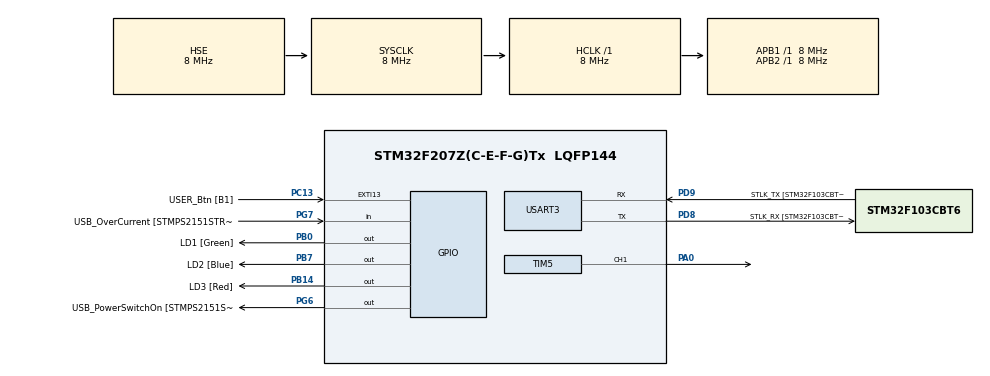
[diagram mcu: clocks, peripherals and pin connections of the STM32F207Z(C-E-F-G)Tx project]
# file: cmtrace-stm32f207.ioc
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Mcu.Family=STM32F2
Mcu.Name=STM32F207Z(C-E-F-G)Tx
Mcu.Package=LQFP144
NVIC.PriorityGroup=NVIC_PRIORITYGROUP_4
NVIC.TIM5_IRQn=true\:0\:0\:false\:false\:true\:true\:true\:true
PA0-WKUP.Signal=S_TIM5_CH1
PA1.GPIO_Label=RMII_REF_CLK [LAN8742A-CZ-TR_REFCLK0]
PA1.Signal=ETH_REF_CLK
PA10.GPIO_Label=USB_ID
PA10.Signal=USB_OTG_FS_ID
PA11.GPIO_Label=USB_DM
PA11.Signal=USB_OTG_FS_DM
PA12.GPIO_Label=USB_DP
PA12.Signal=USB_OTG_FS_DP
PA13.GPIO_Label=TMS
PA13.Mode=Serial_Wire
PA13.Signal=SYS_JTMS-SWDIO
PA14.GPIO_Label=TCK
PA14.Mode=Serial_Wire
PA14.Signal=SYS_JTCK-SWCLK
PA2.GPIO_Label=RMII_MDIO [LAN8742A-CZ-TR_MDIO]
PA2.Signal=ETH_MDIO
PA7.GPIO_Label=RMII_CRS_DV [LAN8742A-CZ-TR_CRS_DV]
PA7.Signal=ETH_CRS_DV
PA8.GPIO_Label=USB_SOF [TP1]
PA8.Signal=USB_OTG_FS_SOF
PA9.GPIO_Label=USB_VBUS
PA9.Signal=USB_OTG_FS_VBUS
PB0.GPIO_Label=LD1 [Green]
PB0.Signal=GPIO_Output
PB13.GPIO_Label=RMII_TXD1 [LAN8742A-CZ-TR_TXD1]
PB13.Signal=ETH_TXD1
PB14.GPIO_Label=LD3 [Red]
PB14.Signal=GPIO_Output
PB3.GPIO_Label=SWO
PB3.Signal=SYS_JTDO-SWO
PB7.GPIO_Label=LD2 [Blue]
PB7.Signal=GPIO_Output
PC1.GPIO_Label=RMII_MDC [LAN8742A-CZ-TR_MDC]
PC1.Signal=ETH_MDC
PC13.GPIO_Label=USER_Btn [B1]
PC13.Signal=GPXTI13
PC14-OSC32_IN.Mode=LSE-External-Oscillator
PC14-OSC32_IN.Signal=RCC_OSC32_IN
PC15-OSC32_OUT.Mode=LSE-External-Oscillator
PC15-OSC32_OUT.Signal=RCC_OSC32_OUT
PC4.GPIO_Label=RMII_RXD0 [LAN8742A-CZ-TR_RXD0]
PC4.Signal=ETH_RXD0
PC5.GPIO_Label=RMII_RXD1 [LAN8742A-CZ-TR_RXD1]
PC5.Signal=ETH_RXD1
PD8.GPIO_Label=STLK_RX [STM32F103CBT6_PA2]
PD8.Mode=Asynchronous
PD8.Signal=USART3_TX
PD9.GPIO_Label=STLK_TX [STM32F103CBT6_PA3]
PD9.Mode=Asynchronous
PD9.Signal=USART3_RX
PG11.GPIO_Label=RMII_TX_EN [LAN8742A-CZ-TR_TXEN]
PG11.Signal=ETH_TX_EN
PG13.GPIO_Label=RMII_TXD0 [LAN8742A-CZ-TR_TXD0]
PG13.Signal=ETH_TXD0
PG6.GPIO_Label=USB_PowerSwitchOn [STMPS2151STR_EN]
PG6.Signal=GPIO_Output
PG7.GPIO_Label=USB_OverCurrent [STMPS2151STR_FAULT]
PG7.Signal=GPIO_Input
PH0-OSC_IN.GPIO_Label=MCO [STM32F103CBT6_PA8]
PH0-OSC_IN.Mode=HSE-External-Clock-Source
PH0-OSC_IN.Signal=RCC_OSC_IN
PH1-OSC_OUT.Mode=HSE-External-Clock-Source
PH1-OSC_OUT.Signal=RCC_OSC_OUT
ProjectManager.HeapSize=0x200
ProjectManager.StackSize=0x400
ProjectManager.TargetToolchain=Makefile
RCC.48MHZClocksFreq_Value=48000000
RCC.AHBFreq_Value=8000000
RCC.APB1Freq_Value=8000000
RCC.APB1TimFreq_Value=8000000
RCC.APB2Freq_Value=8000000
RCC.APB2TimFreq_Value=8000000
RCC.CortexFreq_Value=8000000
RCC.HCLKFreq_Value=8000000
RCC.HSE_VALUE=8000000
RCC.HSI_VALUE=16000000
RCC.PLLM=13
RCC.PLLMUL=RCC_PLL_MUL9
RCC.PLLN=195
RCC.PLLQ=5
RCC.PRESCALERUSB=RCC_USBCLKSOURCE_PLL_DIV1_5
RCC.SYSCLKFreq_VALUE=8000000
RCC.SYSCLKSource=RCC_SYSCLKSOURCE_HSE
RCC.SYSCLKSourceVirtual=RCC_SYSCLKSOURCE_PLLCLK
RCC.USBFreq_Value=48000000
RCC.VCOOutputFreq_Value=240000000
SH.S_TIM5_CH1.0=TIM5_CH1,PWM Generation1 CH1
TIM5.Channel-PWM\ Generation1\ CH1=TIM_CHANNEL_1
USART3.VirtualMode=VM_ASYNC
VP_TIM5_VS_ClockSourceINT.Mode=Internal
board=NUCLEO-F207ZG

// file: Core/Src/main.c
/* USER CODE BEGIN Header */
/**
  ******************************************************************************
  * @file           : main.c
  * @brief          : Main program body
  ******************************************************************************
  * @attention
  *
  * Copyright (c) 2026 STMicroelectronics.
  * All rights reserved.
  *
  * This software is licensed under terms that can be found in the LICENSE file
  * in the root directory of this software component.
  * If no LICENSE file comes with this software, it is provided AS-IS.
  *
  ******************************************************************************
  */
/* USER CODE END Header */
#include "main.h"

/* USER CODE BEGIN Includes */
#include "cmtrace.h"
#include "stm32f2xx_ll_tim.h"
#include <stdio.h>
/* USER CODE END Includes */

TIM_HandleTypeDef htim5;

UART_HandleTypeDef huart3;

/* USER CODE BEGIN PV */
int __io_putchar(int ch){
	HAL_UART_Transmit(&huart3, (uint8_t *)&ch, 1, 0xFFFF);
	return ch;
}
int __io_getchar(void){
	uint8_t c;
	HAL_UART_Receive(&huart3, &c, 1, 0xFFFFFFFF);
	//__io_putchar(c);
	return c;
}
/* USER CODE END PV */

void SystemClock_Config(void);
static void MX_GPIO_Init(void);
static void MX_USART3_UART_Init(void);
static void MX_TIM5_Init(void);

/* USER CODE BEGIN 0 */
void led1_on(){
	HAL_GPIO_WritePin(LD1_GPIO_Port,LD1_Pin,1);
}

void led1_off(){
	HAL_GPIO_WritePin(LD1_GPIO_Port,LD1_Pin,0);
}
void systick_disable(void) {
	SysTick->CTRL &= ~(SysTick_CTRL_ENABLE_Msk | SysTick_CTRL_TICKINT_Msk);
}
void cmtrace_clear_caches(){
	__HAL_FLASH_PREFETCH_BUFFER_DISABLE();
	__HAL_FLASH_INSTRUCTION_CACHE_DISABLE();
	__HAL_FLASH_DATA_CACHE_DISABLE();
	__HAL_FLASH_INSTRUCTION_CACHE_RESET();
	__HAL_FLASH_DATA_CACHE_RESET();
	__HAL_FLASH_PREFETCH_BUFFER_ENABLE();
	__HAL_FLASH_INSTRUCTION_CACHE_ENABLE();
	__HAL_FLASH_DATA_CACHE_ENABLE();
}
void cmtrace_timer_init(){
	//nothing to do, done already in main code
	//printf("cmtrace_timer_init\n");
	DBGMCU->APB1FZ|=0x8;//halt timer during debug mode

	SET_BIT(TIM5->CCER, TIM_CCER_CC1E);
}
void cmtrace_timer_start(uint32_t cycles){
	//printf("cmtrace_timer_start %lu\n",cycles);
	WRITE_REG(TIM5->ARR, cycles);
	LL_TIM_SetCounter(TIM5,0);
	CLEAR_BIT(TIM5->SR, TIM_SR_UIF);
	SET_BIT(TIM5->DIER, TIM_DIER_UIE);
	SET_BIT(TIM5->CR1, TIM_CR1_OPM);//set one pulse mode
	LL_TIM_OC_SetCompareCH1(htim5.Instance,cycles);
	led1_on();
	SET_BIT(TIM5->CR1, TIM_CR1_CEN);
}
void cmtrace_timer_stop(){
	CLEAR_BIT(TIM5->CR1, TIM_CR1_CEN);//stop timer
	led1_off();
	//printf("cmtrace_timer_stop\n");
}
void cmtrace_timer_irq_ack(){
	led1_off();
	cmtrace_timer_stop();
	__HAL_TIM_CLEAR_FLAG(&htim5, TIM_FLAG_UPDATE);
	CLEAR_BIT(TIM5->DIER, TIM_DIER_UIE);
	//printf("cmtrace_timer_irq_ack\n");
}
uint32_t cmtrace_timer_read(){
	return LL_TIM_GetCounter(TIM5);
}

/* USER CODE END 0 */

int main(void)
{

  /* MCU Configuration--------------------------------------------------------*/

  /* Reset of all peripherals, Initializes the Flash interface and the Systick. */
  HAL_Init();

  /* Configure the system clock */
  SystemClock_Config();

  /* Initialize all configured peripherals */
  MX_GPIO_Init();
  MX_USART3_UART_Init();
  MX_TIM5_Init();
  /* USER CODE BEGIN 2 */
  //printf("STM32F207\n");
  //led1_on();
  //led1_off();
  systick_disable();
    /*test_umul64_16_16();
  test_umul64_32_16();
  test_umul64_32_32();*/
  include_test_functions();
  //cmtrace_trace(test_umul64_16_16);
  cmtrace_trace_loop();
  /* USER CODE END 2 */

  /* Infinite loop */
  while (1)
  {

  }
}

void SystemClock_Config(void)
{
  RCC_OscInitTypeDef RCC_OscInitStruct = {0};
  RCC_ClkInitTypeDef RCC_ClkInitStruct = {0};

  /** Initializes the RCC Oscillators according to the specified parameters
  * in the RCC_OscInitTypeDef structure.
  */
  RCC_OscInitStruct.OscillatorType = RCC_OSCILLATORTYPE_HSE;
  RCC_OscInitStruct.HSEState = RCC_HSE_BYPASS;
  RCC_OscInitStruct.PLL.PLLState = RCC_PLL_NONE;
  if (HAL_RCC_OscConfig(&RCC_OscInitStruct) != HAL_OK)
  {
    Error_Handler();
  }

  /** Initializes the CPU, AHB and APB buses clocks
  */
  RCC_ClkInitStruct.ClockType = RCC_CLOCKTYPE_HCLK|RCC_CLOCKTYPE_SYSCLK
                              |RCC_CLOCKTYPE_PCLK1|RCC_CLOCKTYPE_PCLK2;
  RCC_ClkInitStruct.SYSCLKSource = RCC_SYSCLKSOURCE_HSE;
  RCC_ClkInitStruct.AHBCLKDivider = RCC_SYSCLK_DIV1;
  RCC_ClkInitStruct.APB1CLKDivider = RCC_HCLK_DIV1;
  RCC_ClkInitStruct.APB2CLKDivider = RCC_HCLK_DIV1;

  if (HAL_RCC_ClockConfig(&RCC_ClkInitStruct, FLASH_LATENCY_0) != HAL_OK)
  {
    Error_Handler();
  }
}

static void MX_TIM5_Init(void)
{

  TIM_ClockConfigTypeDef sClockSourceConfig = {0};
  TIM_MasterConfigTypeDef sMasterConfig = {0};
  TIM_OC_InitTypeDef sConfigOC = {0};

  htim5.Instance = TIM5;
  htim5.Init.Prescaler = 0;
  htim5.Init.CounterMode = TIM_COUNTERMODE_UP;
  htim5.Init.Period = 4294967295;
  htim5.Init.ClockDivision = TIM_CLOCKDIVISION_DIV1;
  htim5.Init.AutoReloadPreload = TIM_AUTORELOAD_PRELOAD_DISABLE;
  if (HAL_TIM_Base_Init(&htim5) != HAL_OK)
  {
    Error_Handler();
  }
  sClockSourceConfig.ClockSource = TIM_CLOCKSOURCE_INTERNAL;
  if (HAL_TIM_ConfigClockSource(&htim5, &sClockSourceConfig) != HAL_OK)
  {
    Error_Handler();
  }
  if (HAL_TIM_PWM_Init(&htim5) != HAL_OK)
  {
    Error_Handler();
  }
  sMasterConfig.MasterOutputTrigger = TIM_TRGO_RESET;
  sMasterConfig.MasterSlaveMode = TIM_MASTERSLAVEMODE_DISABLE;
  if (HAL_TIMEx_MasterConfigSynchronization(&htim5, &sMasterConfig) != HAL_OK)
  {
    Error_Handler();
  }
  sConfigOC.OCMode = TIM_OCMODE_PWM1;
  sConfigOC.Pulse = 0;
  sConfigOC.OCPolarity = TIM_OCPOLARITY_HIGH;
  sConfigOC.OCFastMode = TIM_OCFAST_DISABLE;
  if (HAL_TIM_PWM_ConfigChannel(&htim5, &sConfigOC, TIM_CHANNEL_1) != HAL_OK)
  {
    Error_Handler();
  }
  HAL_TIM_MspPostInit(&htim5);

}

static void MX_USART3_UART_Init(void)
{

  huart3.Instance = USART3;
  huart3.Init.BaudRate = 115200;
  huart3.Init.WordLength = UART_WORDLENGTH_8B;
  huart3.Init.StopBits = UART_STOPBITS_1;
  huart3.Init.Parity = UART_PARITY_NONE;
  huart3.Init.Mode = UART_MODE_TX_RX;
  huart3.Init.HwFlowCtl = UART_HWCONTROL_NONE;
  huart3.Init.OverSampling = UART_OVERSAMPLING_16;
  if (HAL_UART_Init(&huart3) != HAL_OK)
  {
    Error_Handler();
  }

}

static void MX_GPIO_Init(void)
{
  GPIO_InitTypeDef GPIO_InitStruct = {0};

  /* GPIO Ports Clock Enable */
  __HAL_RCC_GPIOC_CLK_ENABLE();
  __HAL_RCC_GPIOH_CLK_ENABLE();
  __HAL_RCC_GPIOA_CLK_ENABLE();
  __HAL_RCC_GPIOB_CLK_ENABLE();
  __HAL_RCC_GPIOD_CLK_ENABLE();
  __HAL_RCC_GPIOG_CLK_ENABLE();

  /*Configure GPIO pin Output Level */
  HAL_GPIO_WritePin(GPIOB, LD1_Pin|LD3_Pin|LD2_Pin, GPIO_PIN_RESET);

  /*Configure GPIO pin Output Level */
  HAL_GPIO_WritePin(USB_PowerSwitchOn_GPIO_Port, USB_PowerSwitchOn_Pin, GPIO_PIN_RESET);

  /*Configure GPIO pin : USER_Btn_Pin */
  GPIO_InitStruct.Pin = USER_Btn_Pin;
  GPIO_InitStruct.Mode = GPIO_MODE_IT_RISING;
  GPIO_InitStruct.Pull = GPIO_NOPULL;
  HAL_GPIO_Init(USER_Btn_GPIO_Port, &GPIO_InitStruct);

  /*Configure GPIO pins : RMII_MDC_Pin RMII_RXD0_Pin RMII_RXD1_Pin */
  GPIO_InitStruct.Pin = RMII_MDC_Pin|RMII_RXD0_Pin|RMII_RXD1_Pin;
  GPIO_InitStruct.Mode = GPIO_MODE_AF_PP;
  GPIO_InitStruct.Pull = GPIO_NOPULL;
  GPIO_InitStruct.Speed = GPIO_SPEED_FREQ_VERY_HIGH;
  GPIO_InitStruct.Alternate = GPIO_AF11_ETH;
  HAL_GPIO_Init(GPIOC, &GPIO_InitStruct);

  /*Configure GPIO pins : RMII_REF_CLK_Pin RMII_MDIO_Pin RMII_CRS_DV_Pin */
  GPIO_InitStruct.Pin = RMII_REF_CLK_Pin|RMII_MDIO_Pin|RMII_CRS_DV_Pin;
  GPIO_InitStruct.Mode = GPIO_MODE_AF_PP;
  GPIO_InitStruct.Pull = GPIO_NOPULL;
  GPIO_InitStruct.Speed = GPIO_SPEED_FREQ_VERY_HIGH;
  GPIO_InitStruct.Alternate = GPIO_AF11_ETH;
  HAL_GPIO_Init(GPIOA, &GPIO_InitStruct);

  /*Configure GPIO pins : LD1_Pin LD3_Pin LD2_Pin */
  GPIO_InitStruct.Pin = LD1_Pin|LD3_Pin|LD2_Pin;
  GPIO_InitStruct.Mode = GPIO_MODE_OUTPUT_PP;
  GPIO_InitStruct.Pull = GPIO_NOPULL;
  GPIO_InitStruct.Speed = GPIO_SPEED_FREQ_LOW;
  HAL_GPIO_Init(GPIOB, &GPIO_InitStruct);

  /*Configure GPIO pin : RMII_TXD1_Pin */
  GPIO_InitStruct.Pin = RMII_TXD1_Pin;
  GPIO_InitStruct.Mode = GPIO_MODE_AF_PP;
  GPIO_InitStruct.Pull = GPIO_NOPULL;
  GPIO_InitStruct.Speed = GPIO_SPEED_FREQ_VERY_HIGH;
  GPIO_InitStruct.Alternate = GPIO_AF11_ETH;
  HAL_GPIO_Init(RMII_TXD1_GPIO_Port, &GPIO_InitStruct);

  /*Configure GPIO pin : USB_PowerSwitchOn_Pin */
  GPIO_InitStruct.Pin = USB_PowerSwitchOn_Pin;
  GPIO_InitStruct.Mode = GPIO_MODE_OUTPUT_PP;
  GPIO_InitStruct.Pull = GPIO_NOPULL;
  GPIO_InitStruct.Speed = GPIO_SPEED_FREQ_LOW;
  HAL_GPIO_Init(USB_PowerSwitchOn_GPIO_Port, &GPIO_InitStruct);

  /*Configure GPIO pin : USB_OverCurrent_Pin */
  GPIO_InitStruct.Pin = USB_OverCurrent_Pin;
  GPIO_InitStruct.Mode = GPIO_MODE_INPUT;
  GPIO_InitStruct.Pull = GPIO_NOPULL;
  HAL_GPIO_Init(USB_OverCurrent_GPIO_Port, &GPIO_InitStruct);

  /*Configure GPIO pins : USB_SOF_Pin USB_ID_Pin USB_DM_Pin USB_DP_Pin */
  GPIO_InitStruct.Pin = USB_SOF_Pin|USB_ID_Pin|USB_DM_Pin|USB_DP_Pin;
  GPIO_InitStruct.Mode = GPIO_MODE_AF_PP;
  GPIO_InitStruct.Pull = GPIO_NOPULL;
  GPIO_InitStruct.Speed = GPIO_SPEED_FREQ_VERY_HIGH;
  GPIO_InitStruct.Alternate = GPIO_AF10_OTG_FS;
  HAL_GPIO_Init(GPIOA, &GPIO_InitStruct);

  /*Configure GPIO pin : USB_VBUS_Pin */
  GPIO_InitStruct.Pin = USB_VBUS_Pin;
  GPIO_InitStruct.Mode = GPIO_MODE_INPUT;
  GPIO_InitStruct.Pull = GPIO_NOPULL;
  HAL_GPIO_Init(USB_VBUS_GPIO_Port, &GPIO_InitStruct);

  /*Configure GPIO pins : RMII_TX_EN_Pin RMII_TXD0_Pin */
  GPIO_InitStruct.Pin = RMII_TX_EN_Pin|RMII_TXD0_Pin;
  GPIO_InitStruct.Mode = GPIO_MODE_AF_PP;
  GPIO_InitStruct.Pull = GPIO_NOPULL;
  GPIO_InitStruct.Speed = GPIO_SPEED_FREQ_VERY_HIGH;
  GPIO_InitStruct.Alternate = GPIO_AF11_ETH;
  HAL_GPIO_Init(GPIOG, &GPIO_InitStruct);

}

void Error_Handler(void)
{
  __disable_irq();
  while (1)
  {
  }
}
